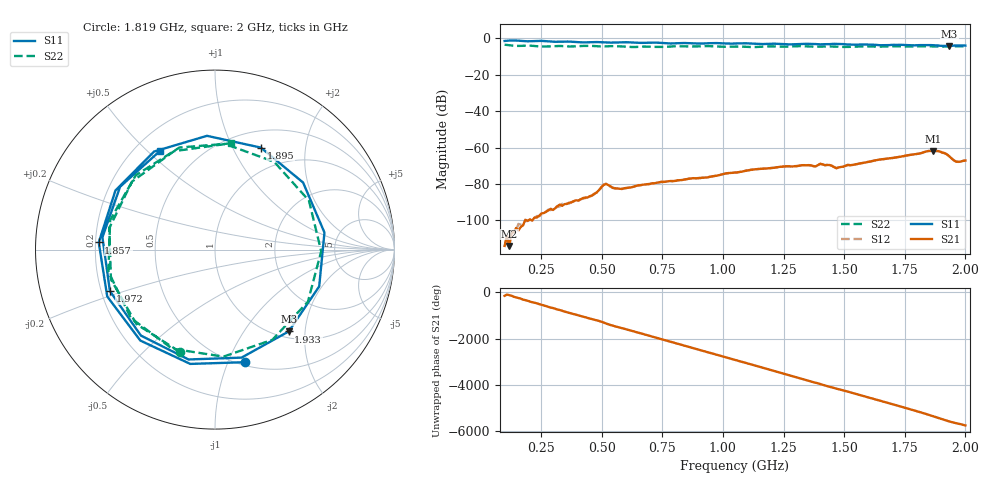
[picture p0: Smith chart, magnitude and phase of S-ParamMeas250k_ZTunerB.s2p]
!Keysight Technologies,N5242B,MY48420967,A.15.65.19
!Date: Monday, December 19, 2022 16:03:40
!Correction: S11(C  2-Port  )
!S21(C  2-Port  )
!S12(C  2-Port  )
!S22(C  2-Port  )
!S2P File: Measurements: S11, S21, S12, S22:
# Hz S  dB  R 50
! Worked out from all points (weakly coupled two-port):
!   201 points, 100 MHz to 2 GHz, reference 50 ohm
!   highest |S21| = -61.79 dB at 1.867 GHz (marker M1); lowest = -114.0 dB at 119 MHz (marker M2)
!   lowest |S11| = -4.2 dB at 1.933 GHz (marker M3), VSWR 4.18, Z = 56.1 - j82.1 ohm
!   |S11| at or under -10 dB: nowhere
!   |S22| runs from -4.8 to -3.5 dB; largest |S21 - S12| = 4.3e-06
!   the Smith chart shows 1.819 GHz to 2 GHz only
!   S11 on the Smith chart (normalised r, x): 1.819 GHz: 0.53, -1.15; 1.857 GHz: 0.21, +0.03; 1.895 GHz: 0.70, +1.30; 1.933 GHz: 1.12, -1.64; 1.972 GHz: 0.24, -0.18; 2 GHz: 0.30, +0.55
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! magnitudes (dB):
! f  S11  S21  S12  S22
! 100 MHz  -1.5  -113.9  -114.1  -3.5
! 119 MHz  -1.2  -114.0  -109.4  -3.8
! 423 MHz  -2.3  -87.7  -88.0  -4.2
! 689 MHz  -2.4  -80.1  -80.0  -4.6
! 736.5 MHz  -2.5  -79.0  -79.1  -4.8
! 936 MHz  -2.8  -76.4  -76.3  -4.3
! 1.05 GHz  -2.9  -73.7  -73.7  -4.5
! 1.25 GHz  -3.2  -70.4  -70.4  -4.6
! 1.335 GHz  -3.0  -69.6  -69.6  -4.4
! 1.373 GHz  -3.1  -70.2  -70.2  -4.6
! 1.401 GHz  -3.3  -68.9  -68.9  -4.6
! 1.44 GHz  -3.2  -69.5  -69.6  -4.5
! 1.468 GHz  -3.1  -71.3  -71.3  -4.6
! 1.687 GHz  -3.8  -65.9  -66.0  -4.4
! 1.819 GHz  -3.8  -63.0  -63.0  -4.4
! 1.857 GHz  -3.8  -61.8  -61.8  -4.5
! 1.867 GHz  -3.8  -61.8  -61.8  -4.5
! 1.895 GHz  -4.1  -62.2  -62.2  -4.6
! 1.933 GHz  -4.2  -64.8  -64.8  -4.5
! 1.952 GHz  -4.0  -67.0  -67.0  -4.4
! 1.972 GHz  -4.0  -67.8  -67.8  -4.3
! 2 GHz  -4.0  -67.1  -67.1  -4.5
